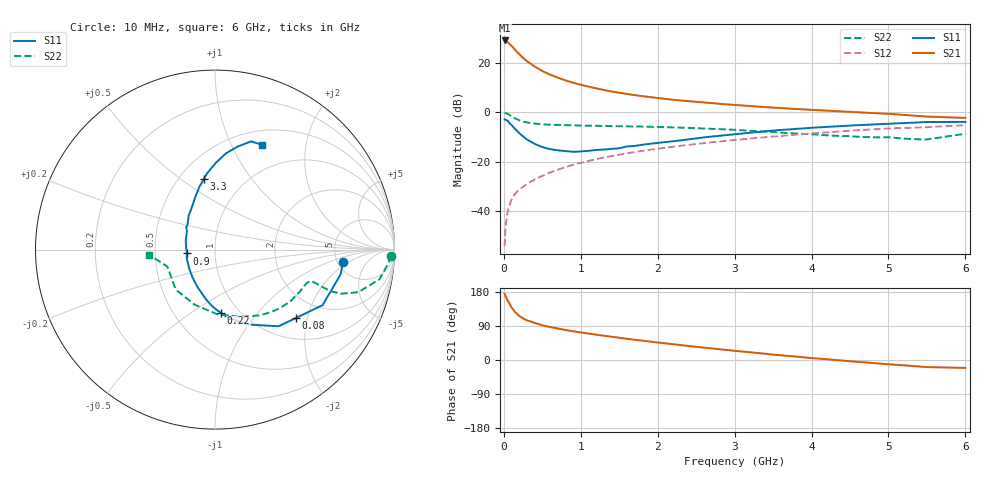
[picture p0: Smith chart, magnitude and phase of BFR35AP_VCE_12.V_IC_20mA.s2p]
! Infineon Technologies  Discrete & RF Semiconductors
! BFR35AP
! VCE =  12. V,  IC =  20 mA
! Common Emitter S-Parameters:  Nov 2015
# GHz  S  MA  R  50
!  f  S11  S21  S12  S22
! GHz  MAG  ANG  MAG  ANG  MAG  ANG  MAG  ANG
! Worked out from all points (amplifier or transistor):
!   210 points, 10 MHz to 6 GHz, reference 50 ohm
!   highest |S21| = 29.2 dB at 10 MHz (marker M1)
!   |S21| within 3 dB of that: start of sweep to 122.7 MHz
!   unconditionally stable (mu >= 1): 472.3 MHz to 2.557 GHz
!   at 185 MHz: K = 0.67, MSG = 28.0 dB, |S12| = -31.9 dB
!   at 1.52 GHz: K = 1.08, MAG = 10.7 dB, |S12| = -17.1 dB
!   at 6 GHz: K = 0.87, MSG = 1.5 dB, |S12| = -5.2 dB
!   S11 on the Smith chart (normalised r, x): 10 MHz: 5.60, -1.62; 80 MHz: 1.47, -1.71; 220 MHz: 0.83, -0.67; 900 MHz: 0.73, -0.03; 3.3 GHz: 0.66, +0.61; 6 GHz: 0.67, +1.31
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0.01  0.7175 -5.6  28.99 174.2  0.0019 87.4  0.9807 -2.0
0.02  0.7128 -11.3  28.5 169.5  0.0039 84.0  0.9701 -4.4
0.05  0.6746 -27.3  26.85 156.5  0.0095 76.7  0.9307 -10.3
0.08  0.5909 -40.0  23.99 146.3  0.0139 71.4  0.8702 -13.9
0.1  0.5551 -50.3  22.59 138.3  0.0169 69.4  0.832 -16.6
0.15  0.4545 -66.7  18.33 125.1  0.0224 65.9  0.7469 -19.2
0.2  0.3795 -80.3  15.22 116.3  0.0269 65.1  0.6886 -19.8
0.22  0.3554 -84.4  14.23 113.9  0.0284 65.5  0.672 -19.6
0.26  0.3145 -93.1  12.44 108.6  0.0315 66.2  0.6421 -19.3
0.3  0.2819 -100.2  11 104.6  0.0351 66.9  0.6218 -19.0
0.4  0.2292 -115.5  8.557 97.7  0.0429 67.9  0.5902 -18.4
0.5  0.1976 -129.8  6.929 91.5  0.0511 68.9  0.5707 -18.2
0.6  0.1792 -142.8  5.866 87.0  0.0597 70.0  0.56 -18.3
0.9  0.158 -172.2  3.999 75.7  0.0859 69.9  0.5424 -20.4
1.02  0.1613 175.7  3.571 72.1  0.0959 69.7  0.5385 -21.7
1.4  0.1816 150.6  2.658 61.3  0.1288 67.7  0.5278 -26.4
2.02  0.2405 127.3  1.935 45.8  0.1839 62.9  0.5037 -36.1
3.1  0.3716 102.3  1.379 22.4  0.284 52.5  0.4314 -58.7
3.3  0.3988 98.9  1.31 18.5  0.3028 50.2  0.4129 -64.2
4.1  0.4961 87.9  1.103 3.6  0.3819 41.2  0.3493 -92.3
5.1  0.5964 76.4  0.911 -12.6  0.4755 27.0  0.3014 -139.3
6  0.6394 66.0  0.772 -20.9  0.5499 15.8  0.3676 -175.5
